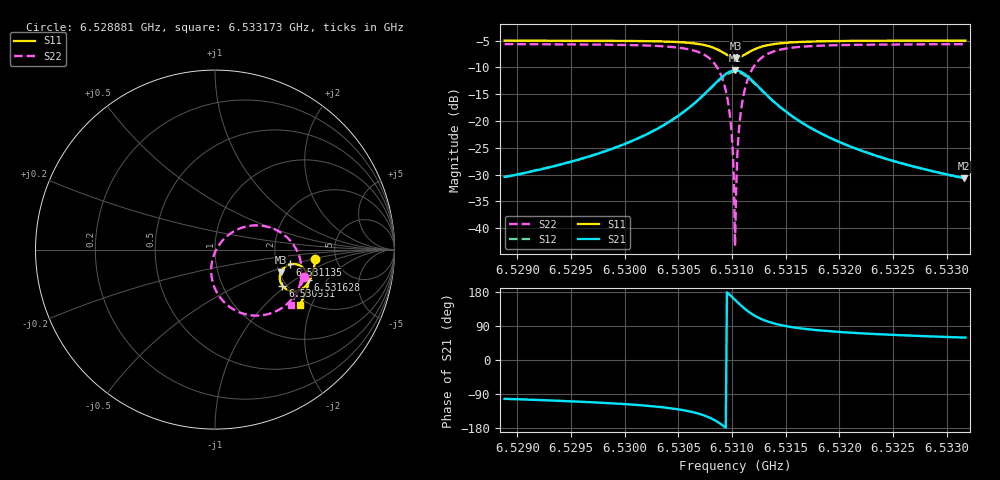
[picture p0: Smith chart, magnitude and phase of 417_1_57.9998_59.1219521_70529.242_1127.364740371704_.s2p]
#  HZ  S  RI  R  50.00
! Rohde & Schwarz Vector Network Analyzer
! Rohde-Schwarz,ZNB20-2Port,1311601062101988,3.16
! Created: UTC 3/21/2024, 1:08:59 AM
! freq[Hz]  re:S11  im:S11  re:S21  im:S21  re:S12  im:S12  re:S22  im:S22
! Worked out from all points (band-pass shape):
!   401 points, 6.528881 GHz to 6.533173 GHz, reference 50 ohm
!   highest |S21| = -10.58 dB at 6.531027 GHz (marker M1); lowest = -30.7 dB at 6.533162 GHz (marker M2)
!   |S21| within 3 dB of the highest: 6.530814 GHz to 6.531244 GHz (429.7 kHz wide, 0.00658 % of centre)
!   lowest |S11| = -8.2 dB at 6.531038 GHz (marker M3), VSWR 2.27, Z = 102 - j30.4 ohm
!   |S11| at or under -10 dB: nowhere
!   |S22| runs from -43.3 to -5.7 dB; largest |S21 - S12| = 0.011
!   S11 on the Smith chart (normalised r, x): 6.528881 GHz: 3.47, -0.53; 6.530931 GHz: 1.90, -0.94; 6.531135 GHz: 2.36, -0.48; 6.531628 GHz: 2.71, -1.29; 6.533173 GHz: 1.83, -1.65
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6.5288815e9  0.5588 -0.0526  -0.00661 -0.0294  -0.00701 -0.0293  0.4966 -0.1554
6.5296003e9  0.5489 -0.1118  -0.0153 -0.0419  -0.0164 -0.0415  0.4673 -0.2213
6.5303192e9  0.5213 -0.1817  -0.0478 -0.0719  -0.0497 -0.0706  0.3889 -0.3135
6.5307484e9  0.4527 -0.2314  -0.1516 -0.0977  -0.154 -0.0918  0.189 -0.3646
6.5308557e9  0.4095 -0.2269  -0.2188 -0.0728  -0.2183 -0.0639  0.074 -0.3134
6.5309308e9  0.3758 -0.2011  -0.2687 -0.0169  -0.2636 -0.00745  -0.00275 -0.2114
6.5309844e9  0.3616 -0.1669  -0.2858 0.0483  -0.277 0.0553  -0.0209 -0.1003
6.5309951e9  0.3609 -0.1587  -0.2855 0.063  -0.2763 0.0692  -0.0182 -0.0762
6.5310059e9  0.3609 -0.1506  -0.2839 0.0776  -0.2742 0.0831  -0.013 -0.0521
6.5310273e9  0.3639 -0.1344  -0.276 0.1068  -0.2659 0.1103  0.00425 -0.00533
6.5310381e9  0.3666 -0.1267  -0.27 0.1206  -0.2598 0.1232  0.0163 0.0164
6.5310488e9  0.3701 -0.1193  -0.2626 0.1337  -0.2527 0.1355  0.0304 0.0367
6.5310595e9  0.3745 -0.1123  -0.254 0.1461  -0.2443 0.1469  0.0465 0.0555
6.531081e9  0.3849 -0.1003  -0.2343 0.1673  -0.225 0.1667  0.0826 0.0874
6.5311346e9  0.4167 -0.0827  -0.1761 0.1991  -0.1697 0.1964  0.1838 0.1308
6.531199e9  0.453 -0.0815  -0.112 0.2036  -0.1084 0.2005  0.2921 0.1275
6.5312956e9  0.489 -0.0997  -0.0492 0.1791  -0.0475 0.1773  0.3955 0.0732
6.5316282e9  0.5191 -0.1668  0.0107 0.0991  0.0118 0.0988  0.4816 -0.0932
6.5317462e9  0.5188 -0.1839  0.0147 0.0834  0.0157 0.0832  0.4831 -0.1282
6.5324651e9  0.499 -0.2558  0.0171 0.04  0.0179 0.0398  0.4555 -0.2443
6.5331625e9  0.472 -0.3072  0.015 0.0252  0.0156 0.025  0.4211 -0.3054
6.5331732e9  0.4716 -0.308  0.015 0.0252  0.0156 0.0249  0.4207 -0.3061
